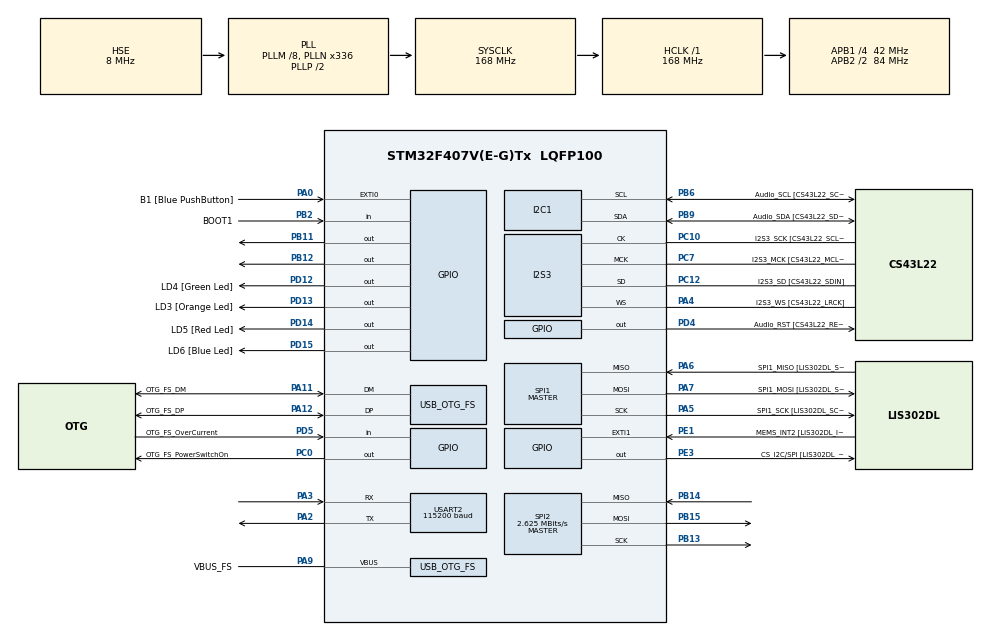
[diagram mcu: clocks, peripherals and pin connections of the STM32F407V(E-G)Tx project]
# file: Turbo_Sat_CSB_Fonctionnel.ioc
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I2S3.AudioFreq-Half_Duplex_Master=I2S_AUDIOFREQ_96K
I2S3.ErrorAudioFreq=-2.34 %
I2S3.ErrorAudioFreq-Half_Duplex_Master=0.8 %
I2S3.FullDuplexMode=I2S_FULLDUPLEXMODE_DISABLE
I2S3.Instance=SPI$Index
I2S3.RealAudioFreq=93.75 KHz
I2S3.RealAudioFreq-Half_Duplex_Master=96.774 KHz
I2S3.VirtualMode=I2S_MODE_MASTER
Mcu.Family=STM32F4
Mcu.Name=STM32F407V(E-G)Tx
Mcu.Package=LQFP100
NVIC.OTG_FS_IRQn=true\:0\:0\:false\:false\:true\:true\:true\:true
NVIC.PriorityGroup=NVIC_PRIORITYGROUP_0
NVIC.USART2_IRQn=true\:0\:0\:false\:false\:true\:true\:true\:true
PA0-WKUP.GPIO_Label=B1 [Blue PushButton]
PA0-WKUP.GPIO_ModeDefaultEXTI=GPIO_MODE_EVT_RISING
PA0-WKUP.GPIO_PuPd=GPIO_NOPULL
PA0-WKUP.Signal=GPXTI0
PA10.GPIO_Label=OTG_FS_ID
PA10.GPIO_Mode=GPIO_MODE_AF_PP
PA10.GPIO_PuPd=GPIO_NOPULL
PA10.GPIO_Speed=GPIO_SPEED_FREQ_LOW
PA10.Signal=USB_OTG_FS_ID
PA11.GPIO_Label=OTG_FS_DM
PA11.GPIO_Mode=GPIO_MODE_AF_PP
PA11.GPIO_PuPd=GPIO_NOPULL
PA11.GPIO_Speed=GPIO_SPEED_FREQ_LOW
PA11.Mode=Host_Only
PA11.Signal=USB_OTG_FS_DM
PA12.GPIO_Label=OTG_FS_DP
PA12.GPIO_Mode=GPIO_MODE_AF_PP
PA12.GPIO_PuPd=GPIO_NOPULL
PA12.GPIO_Speed=GPIO_SPEED_FREQ_LOW
PA12.Mode=Host_Only
PA12.Signal=USB_OTG_FS_DP
PA13.GPIO_Label=SWDIO
PA13.Mode=Serial_Wire
PA13.Signal=SYS_JTMS-SWDIO
PA14.GPIO_Label=SWCLK
PA14.Mode=Serial_Wire
PA14.Signal=SYS_JTCK-SWCLK
PA2.Mode=Asynchronous
PA2.Signal=USART2_TX
PA3.Mode=Asynchronous
PA3.Signal=USART2_RX
PA4.GPIO_Label=I2S3_WS [CS43L22_LRCK]
PA4.GPIO_Mode=GPIO_MODE_AF_PP
PA4.GPIO_PuPd=GPIO_NOPULL
PA4.GPIO_Speed=GPIO_SPEED_FREQ_LOW
PA4.Mode=Half_Duplex_Master
PA4.Signal=I2S3_WS
PA5.GPIO_Label=SPI1_SCK [LIS302DL_SCL/SPC]
PA5.GPIO_Mode=GPIO_MODE_AF_PP
PA5.GPIO_PuPd=GPIO_NOPULL
PA5.GPIO_Speed=GPIO_SPEED_FREQ_LOW
PA5.Mode=Full_Duplex_Master
PA5.Signal=SPI1_SCK
PA6.GPIO_Label=SPI1_MISO [LIS302DL_SDO]
PA6.GPIO_Mode=GPIO_MODE_AF_PP
PA6.GPIO_PuPd=GPIO_NOPULL
PA6.GPIO_Speed=GPIO_SPEED_FREQ_LOW
PA6.Mode=Full_Duplex_Master
PA6.Signal=SPI1_MISO
PA7.GPIO_Label=SPI1_MOSI [LIS302DL_SDA/SDI/SDO]
PA7.GPIO_Mode=GPIO_MODE_AF_PP
PA7.GPIO_PuPd=GPIO_NOPULL
PA7.GPIO_Speed=GPIO_SPEED_FREQ_LOW
PA7.Mode=Full_Duplex_Master
PA7.Signal=SPI1_MOSI
PA9.GPIO_Label=VBUS_FS
PA9.GPIO_Mode=GPIO_MODE_INPUT
PA9.GPIO_PuPd=GPIO_NOPULL
PA9.Mode=Activate_VBUS
PA9.Signal=USB_OTG_FS_VBUS
PB10.GPIO_Label=CLK_IN [MP45DT02_CLK]
PB10.GPIO_Mode=GPIO_MODE_AF_PP
PB10.GPIO_PuPd=GPIO_NOPULL
PB10.GPIO_Speed=GPIO_SPEED_FREQ_LOW
PB10.Signal=I2S2_CK
PB11.Signal=GPIO_Output
PB12.Signal=GPIO_Output
PB13.Mode=Full_Duplex_Master
PB13.Signal=SPI2_SCK
PB14.Mode=Full_Duplex_Master
PB14.Signal=SPI2_MISO
PB15.Mode=Full_Duplex_Master
PB15.Signal=SPI2_MOSI
PB2.GPIO_Label=BOOT1
PB2.GPIO_Mode=GPIO_MODE_INPUT
PB2.GPIO_PuPd=GPIO_NOPULL
PB2.Signal=GPIO_Input
PB3.GPIO_Label=SWO
PB3.Signal=SYS_JTDO-SWO
PB6.GPIO_Label=Audio_SCL [CS43L22_SCL]
PB6.GPIO_Mode=GPIO_MODE_AF_OD
PB6.GPIO_Pu=GPIO_PULLUP
PB6.GPIO_PuPd=GPIO_NOPULL
PB6.GPIO_Speed=GPIO_SPEED_FREQ_LOW
PB6.Mode=I2C
PB6.Signal=I2C1_SCL
PB9.GPIO_Label=Audio_SDA [CS43L22_SDA]
PB9.GPIO_Mode=GPIO_MODE_AF_OD
PB9.GPIO_Pu=GPIO_PULLUP
PB9.GPIO_PuPd=GPIO_NOPULL
PB9.GPIO_Speed=GPIO_SPEED_FREQ_LOW
PB9.Mode=I2C
PB9.Signal=I2C1_SDA
PC0.GPIO_Label=OTG_FS_PowerSwitchOn
PC0.GPIO_PuPd=GPIO_NOPULL
PC0.GPIO_Speed=GPIO_SPEED_FREQ_LOW
PC0.PinState=GPIO_PIN_SET
PC0.Signal=GPIO_Output
PC10.GPIO_Label=I2S3_SCK [CS43L22_SCLK]
PC10.GPIO_Mode=GPIO_MODE_AF_PP
PC10.GPIO_PuPd=GPIO_NOPULL
PC10.GPIO_Speed=GPIO_SPEED_FREQ_LOW
PC10.Mode=Half_Duplex_Master
PC10.Signal=I2S3_CK
PC12.GPIO_Label=I2S3_SD [CS43L22_SDIN]
PC12.GPIO_Mode=GPIO_MODE_AF_PP
PC12.GPIO_PuPd=GPIO_NOPULL
PC12.GPIO_Speed=GPIO_SPEED_FREQ_LOW
PC12.Mode=Half_Duplex_Master
PC12.Signal=I2S3_SD
PC14-OSC32_IN.GPIO_Label=PC14-OSC32_IN
PC14-OSC32_IN.Mode=LSE-External-Oscillator
PC14-OSC32_IN.Signal=RCC_OSC32_IN
PC15-OSC32_OUT.GPIO_Label=PC15-OSC32_OUT
PC15-OSC32_OUT.Mode=LSE-External-Oscillator
PC15-OSC32_OUT.Signal=RCC_OSC32_OUT
PC3.GPIO_Label=PDM_OUT [MP45DT02_DOUT]
PC3.GPIO_Mode=GPIO_MODE_AF_PP
PC3.GPIO_PuPd=GPIO_NOPULL
PC3.GPIO_Speed=GPIO_SPEED_FREQ_LOW
PC3.Signal=I2S2_SD
PC7.GPIO_Label=I2S3_MCK [CS43L22_MCLK]
PC7.GPIO_Mode=GPIO_MODE_AF_PP
PC7.GPIO_PuPd=GPIO_NOPULL
PC7.GPIO_Speed=GPIO_SPEED_FREQ_LOW
PC7.Mode=Master_Clock_Activated
PC7.Signal=I2S3_MCK
PD12.GPIO_Label=LD4 [Green Led]
PD12.GPIO_PuPd=GPIO_NOPULL
PD12.GPIO_Speed=GPIO_SPEED_FREQ_LOW
PD12.Signal=GPIO_Output
PD13.GPIO_Label=LD3 [Orange Led]
PD13.GPIO_PuPd=GPIO_NOPULL
PD13.GPIO_Speed=GPIO_SPEED_FREQ_LOW
PD13.Signal=GPIO_Output
PD14.GPIO_Label=LD5 [Red Led]
PD14.GPIO_PuPd=GPIO_NOPULL
PD14.GPIO_Speed=GPIO_SPEED_FREQ_LOW
PD14.Signal=GPIO_Output
PD15.GPIO_Label=LD6 [Blue Led]
PD15.GPIO_PuPd=GPIO_NOPULL
PD15.GPIO_Speed=GPIO_SPEED_FREQ_LOW
PD15.Signal=GPIO_Output
PD4.GPIO_Label=Audio_RST [CS43L22_RESET]
PD4.GPIO_PuPd=GPIO_NOPULL
PD4.GPIO_Speed=GPIO_SPEED_FREQ_LOW
PD4.Signal=GPIO_Output
PD5.GPIO_Label=OTG_FS_OverCurrent
PD5.GPIO_Mode=GPIO_MODE_INPUT
PD5.GPIO_PuPd=GPIO_NOPULL
PD5.Signal=GPIO_Input
PE1.GPIO_Label=MEMS_INT2 [LIS302DL_INT2]
PE1.GPIO_ModeDefaultEXTI=GPIO_MODE_EVT_RISING
PE1.GPIO_PuPd=GPIO_NOPULL
PE1.Signal=GPXTI1
PE3.GPIO_Label=CS_I2C/SPI [LIS302DL_CS_I2C/SPI]
PE3.GPIO_PuPd=GPIO_NOPULL
PE3.GPIO_Speed=GPIO_SPEED_FREQ_LOW
PE3.Signal=GPIO_Output
PH0-OSC_IN.GPIO_Label=PH0-OSC_IN
PH0-OSC_IN.Mode=HSE-External-Oscillator
PH0-OSC_IN.Signal=RCC_OSC_IN
PH1-OSC_OUT.GPIO_Label=PH1-OSC_OUT
PH1-OSC_OUT.Mode=HSE-External-Oscillator
PH1-OSC_OUT.Signal=RCC_OSC_OUT
ProjectManager.HeapSize=0x200
ProjectManager.StackSize=0x400
ProjectManager.TargetToolchain=STM32CubeIDE
RCC.48MHZClocksFreq_Value=48000000
RCC.AHBFreq_Value=168000000
RCC.APB1CLKDivider=RCC_HCLK_DIV4
RCC.APB1Freq_Value=42000000
RCC.APB1TimFreq_Value=84000000
RCC.APB2CLKDivider=RCC_HCLK_DIV2
RCC.APB2Freq_Value=84000000
RCC.APB2TimFreq_Value=168000000
RCC.CortexFreq_Value=168000000
RCC.HCLKFreq_Value=168000000
RCC.HSE_VALUE=8000000
RCC.HSI_VALUE=16000000
RCC.PLLM=8
RCC.PLLN=336
RCC.PLLQ=7
RCC.SYSCLKFreq_VALUE=168000000
RCC.SYSCLKSource=RCC_SYSCLKSOURCE_PLLCLK
RCC.VCOOutputFreq_Value=336000000
SPI1.BaudRatePrescaler-Full_Duplex_Master=SPI_BAUDRATEPRESCALER_2
SPI1.CalculateBaudRate-Full_Duplex_Master=42.0 MBits/s
SPI1.Direction=SPI_DIRECTION_2LINES
SPI1.Mode=SPI_MODE_MASTER
SPI1.Mode-Full_Duplex_Master=SPI_MODE_MASTER
SPI1.VirtualType=VM_MASTER
SPI2.BaudRatePrescaler=SPI_BAUDRATEPRESCALER_16
SPI2.CalculateBaudRate=2.625 MBits/s
SPI2.Direction=SPI_DIRECTION_2LINES
SPI2.Mode=SPI_MODE_MASTER
SPI2.VirtualType=VM_MASTER
USART2.BaudRate=115200
USART2.VirtualMode=VM_ASYNC
USB_HOST.BSP.number=1
USB_HOST.USBH_HandleTypeDef-CDC_FS=hUsbHostFS
USB_HOST.VirtualModeFS=Cdc
USB_HOST0.BSP.STBoard=false
USB_HOST0.BSP.api=Unknown
USB_HOST0.BSP.instance=PC0
USB_HOST0.BSP.ip=GPIO
USB_HOST0.BSP.mode=Output
USB_HOST0.BSP.name=Drive_VBUS_FS
USB_HOST0.BSP.solution=PC0
USB_OTG_FS.VirtualMode=Host_Only
USB_OTG_FS.phy_itface=HCD_PHY_EMBEDDED
VP_USB_HOST_VS_USB_HOST_CDC_FS.Mode=CDC_FS
board=STM32F407G-DISC1

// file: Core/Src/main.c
/* USER CODE BEGIN Header */
/**
  ******************************************************************************
  * @file           : main.c
  * @brief          : Main program body
  ******************************************************************************
  * @attention
  *
  * Copyright (c) 2022 STMicroelectronics.
  * All rights reserved.
  *
  * This software is licensed under terms that can be found in the LICENSE file
  * in the root directory of this software component.
  * If no LICENSE file comes with this software, it is provided AS-IS.
  *
  ******************************************************************************
  */
/* USER CODE END Header */
#include "main.h"
#include "usb_host.h"

/* USER CODE BEGIN Includes */
#include "nrf24l01.h"
#include "stm32f4xx_hal.h"
/* USER CODE END Includes */

I2C_HandleTypeDef hi2c1;

I2S_HandleTypeDef hi2s3;

SPI_HandleTypeDef hspi1;
SPI_HandleTypeDef hspi2;

UART_HandleTypeDef huart2;

/* USER CODE BEGIN PV */
uint8_t Address[]={0xEE, 0xDD, 0xCC, 0xBB, 0xAA};
 uint8_t buffer[32];
 uint8_t bufferCMD[32];
 uint8_t init = 1;
uint8_t hello[32]="hello world";
uint32_t compteurPixel=0;
uint8_t commande;
uint16_t compteur=0;
 typedef enum
 {
 	RX,
 	TX,
 	OFF
 }etat_e;

 etat_e SPI_Mode=TX;
/* USER CODE END PV */

void SystemClock_Config(void);
static void MX_GPIO_Init(void);
static void MX_I2C1_Init(void);
static void MX_I2S3_Init(void);
static void MX_SPI1_Init(void);
static void MX_SPI2_Init(void);
static void MX_USART2_UART_Init(void);
void MX_USB_HOST_Process(void);

/* USER CODE BEGIN PFP */
void stateMachine(void);
/* USER CODE END PFP */

int main(void)
{

  /* MCU Configuration--------------------------------------------------------*/

  /* Reset of all peripherals, Initializes the Flash interface and the Systick. */
  HAL_Init();

  /* Configure the system clock */
  SystemClock_Config();

  /* Initialize all configured peripherals */
  MX_GPIO_Init();
  MX_I2C1_Init();
  MX_I2S3_Init();
  MX_SPI1_Init();
  MX_USB_HOST_Init();
  MX_SPI2_Init();
  MX_USART2_UART_Init();
  /* USER CODE BEGIN 2 */
   nrf24_Init();
   nrf24_RxMode(Address, 10);
   //HAL_USART_Receive_IT(&husart2, &commande, 1);
  /* USER CODE END 2 */

  /* Infinite loop */
  while (1)
  {

    /* USER CODE BEGIN 3 */
	  if(isDataAvailable(1))
	  {
	  	nrf24_Receive(buffer);
	  	HAL_UART_Transmit(&huart2, buffer, 32, 100);
	  }
  }
  /* USER CODE END 3 */
}

void SystemClock_Config(void)
{
  RCC_OscInitTypeDef RCC_OscInitStruct = {0};
  RCC_ClkInitTypeDef RCC_ClkInitStruct = {0};

  /** Configure the main internal regulator output voltage
  */
  __HAL_RCC_PWR_CLK_ENABLE();
  __HAL_PWR_VOLTAGESCALING_CONFIG(PWR_REGULATOR_VOLTAGE_SCALE1);

  /** Initializes the RCC Oscillators according to the specified parameters
  * in the RCC_OscInitTypeDef structure.
  */
  RCC_OscInitStruct.OscillatorType = RCC_OSCILLATORTYPE_HSE;
  RCC_OscInitStruct.HSEState = RCC_HSE_ON;
  RCC_OscInitStruct.PLL.PLLState = RCC_PLL_ON;
  RCC_OscInitStruct.PLL.PLLSource = RCC_PLLSOURCE_HSE;
  RCC_OscInitStruct.PLL.PLLM = 8;
  RCC_OscInitStruct.PLL.PLLN = 336;
  RCC_OscInitStruct.PLL.PLLP = RCC_PLLP_DIV2;
  RCC_OscInitStruct.PLL.PLLQ = 7;
  if (HAL_RCC_OscConfig(&RCC_OscInitStruct) != HAL_OK)
  {
    Error_Handler();
  }

  /** Initializes the CPU, AHB and APB buses clocks
  */
  RCC_ClkInitStruct.ClockType = RCC_CLOCKTYPE_HCLK|RCC_CLOCKTYPE_SYSCLK
                              |RCC_CLOCKTYPE_PCLK1|RCC_CLOCKTYPE_PCLK2;
  RCC_ClkInitStruct.SYSCLKSource = RCC_SYSCLKSOURCE_PLLCLK;
  RCC_ClkInitStruct.AHBCLKDivider = RCC_SYSCLK_DIV1;
  RCC_ClkInitStruct.APB1CLKDivider = RCC_HCLK_DIV4;
  RCC_ClkInitStruct.APB2CLKDivider = RCC_HCLK_DIV2;

  if (HAL_RCC_ClockConfig(&RCC_ClkInitStruct, FLASH_LATENCY_5) != HAL_OK)
  {
    Error_Handler();
  }
}

static void MX_I2C1_Init(void)
{

  hi2c1.Instance = I2C1;
  hi2c1.Init.ClockSpeed = 100000;
  hi2c1.Init.DutyCycle = I2C_DUTYCYCLE_2;
  hi2c1.Init.OwnAddress1 = 0;
  hi2c1.Init.AddressingMode = I2C_ADDRESSINGMODE_7BIT;
  hi2c1.Init.DualAddressMode = I2C_DUALADDRESS_DISABLE;
  hi2c1.Init.OwnAddress2 = 0;
  hi2c1.Init.GeneralCallMode = I2C_GENERALCALL_DISABLE;
  hi2c1.Init.NoStretchMode = I2C_NOSTRETCH_DISABLE;
  if (HAL_I2C_Init(&hi2c1) != HAL_OK)
  {
    Error_Handler();
  }

}

static void MX_I2S3_Init(void)
{

  hi2s3.Instance = SPI3;
  hi2s3.Init.Mode = I2S_MODE_MASTER_TX;
  hi2s3.Init.Standard = I2S_STANDARD_PHILIPS;
  hi2s3.Init.DataFormat = I2S_DATAFORMAT_16B;
  hi2s3.Init.MCLKOutput = I2S_MCLKOUTPUT_ENABLE;
  hi2s3.Init.AudioFreq = I2S_AUDIOFREQ_96K;
  hi2s3.Init.CPOL = I2S_CPOL_LOW;
  hi2s3.Init.ClockSource = I2S_CLOCK_PLL;
  hi2s3.Init.FullDuplexMode = I2S_FULLDUPLEXMODE_DISABLE;
  if (HAL_I2S_Init(&hi2s3) != HAL_OK)
  {
    Error_Handler();
  }

}

static void MX_SPI1_Init(void)
{

  /* SPI1 parameter configuration*/
  hspi1.Instance = SPI1;
  hspi1.Init.Mode = SPI_MODE_MASTER;
  hspi1.Init.Direction = SPI_DIRECTION_2LINES;
  hspi1.Init.DataSize = SPI_DATASIZE_8BIT;
  hspi1.Init.CLKPolarity = SPI_POLARITY_LOW;
  hspi1.Init.CLKPhase = SPI_PHASE_1EDGE;
  hspi1.Init.NSS = SPI_NSS_SOFT;
  hspi1.Init.BaudRatePrescaler = SPI_BAUDRATEPRESCALER_2;
  hspi1.Init.FirstBit = SPI_FIRSTBIT_MSB;
  hspi1.Init.TIMode = SPI_TIMODE_DISABLE;
  hspi1.Init.CRCCalculation = SPI_CRCCALCULATION_DISABLE;
  hspi1.Init.CRCPolynomial = 10;
  if (HAL_SPI_Init(&hspi1) != HAL_OK)
  {
    Error_Handler();
  }

}

static void MX_SPI2_Init(void)
{

  /* SPI2 parameter configuration*/
  hspi2.Instance = SPI2;
  hspi2.Init.Mode = SPI_MODE_MASTER;
  hspi2.Init.Direction = SPI_DIRECTION_2LINES;
  hspi2.Init.DataSize = SPI_DATASIZE_8BIT;
  hspi2.Init.CLKPolarity = SPI_POLARITY_LOW;
  hspi2.Init.CLKPhase = SPI_PHASE_1EDGE;
  hspi2.Init.NSS = SPI_NSS_SOFT;
  hspi2.Init.BaudRatePrescaler = SPI_BAUDRATEPRESCALER_16;
  hspi2.Init.FirstBit = SPI_FIRSTBIT_MSB;
  hspi2.Init.TIMode = SPI_TIMODE_DISABLE;
  hspi2.Init.CRCCalculation = SPI_CRCCALCULATION_DISABLE;
  hspi2.Init.CRCPolynomial = 10;
  if (HAL_SPI_Init(&hspi2) != HAL_OK)
  {
    Error_Handler();
  }

}

static void MX_USART2_UART_Init(void)
{

  huart2.Instance = USART2;
  huart2.Init.BaudRate = 115200;
  huart2.Init.WordLength = UART_WORDLENGTH_8B;
  huart2.Init.StopBits = UART_STOPBITS_1;
  huart2.Init.Parity = UART_PARITY_NONE;
  huart2.Init.Mode = UART_MODE_TX_RX;
  huart2.Init.HwFlowCtl = UART_HWCONTROL_NONE;
  huart2.Init.OverSampling = UART_OVERSAMPLING_16;
  if (HAL_UART_Init(&huart2) != HAL_OK)
  {
    Error_Handler();
  }

}

static void MX_GPIO_Init(void)
{
  GPIO_InitTypeDef GPIO_InitStruct = {0};

  /* GPIO Ports Clock Enable */
  __HAL_RCC_GPIOE_CLK_ENABLE();
  __HAL_RCC_GPIOC_CLK_ENABLE();
  __HAL_RCC_GPIOH_CLK_ENABLE();
  __HAL_RCC_GPIOA_CLK_ENABLE();
  __HAL_RCC_GPIOB_CLK_ENABLE();
  __HAL_RCC_GPIOD_CLK_ENABLE();

  /*Configure GPIO pin Output Level */
  HAL_GPIO_WritePin(CS_I2C_SPI_GPIO_Port, CS_I2C_SPI_Pin, GPIO_PIN_RESET);

  /*Configure GPIO pin Output Level */
  HAL_GPIO_WritePin(OTG_FS_PowerSwitchOn_GPIO_Port, OTG_FS_PowerSwitchOn_Pin, GPIO_PIN_SET);

  /*Configure GPIO pin Output Level */
  HAL_GPIO_WritePin(GPIOB, GPIO_PIN_11|GPIO_PIN_12, GPIO_PIN_RESET);

  /*Configure GPIO pin Output Level */
  HAL_GPIO_WritePin(GPIOD, LD4_Pin|LD3_Pin|LD5_Pin|LD6_Pin
                          |Audio_RST_Pin, GPIO_PIN_RESET);

  /*Configure GPIO pin : CS_I2C_SPI_Pin */
  GPIO_InitStruct.Pin = CS_I2C_SPI_Pin;
  GPIO_InitStruct.Mode = GPIO_MODE_OUTPUT_PP;
  GPIO_InitStruct.Pull = GPIO_NOPULL;
  GPIO_InitStruct.Speed = GPIO_SPEED_FREQ_LOW;
  HAL_GPIO_Init(CS_I2C_SPI_GPIO_Port, &GPIO_InitStruct);

  /*Configure GPIO pin : OTG_FS_PowerSwitchOn_Pin */
  GPIO_InitStruct.Pin = OTG_FS_PowerSwitchOn_Pin;
  GPIO_InitStruct.Mode = GPIO_MODE_OUTPUT_PP;
  GPIO_InitStruct.Pull = GPIO_NOPULL;
  GPIO_InitStruct.Speed = GPIO_SPEED_FREQ_LOW;
  HAL_GPIO_Init(OTG_FS_PowerSwitchOn_GPIO_Port, &GPIO_InitStruct);

  /*Configure GPIO pin : PDM_OUT_Pin */
  GPIO_InitStruct.Pin = PDM_OUT_Pin;
  GPIO_InitStruct.Mode = GPIO_MODE_AF_PP;
  GPIO_InitStruct.Pull = GPIO_NOPULL;
  GPIO_InitStruct.Speed = GPIO_SPEED_FREQ_LOW;
  GPIO_InitStruct.Alternate = GPIO_AF5_SPI2;
  HAL_GPIO_Init(PDM_OUT_GPIO_Port, &GPIO_InitStruct);

  /*Configure GPIO pin : B1_Pin */
  GPIO_InitStruct.Pin = B1_Pin;
  GPIO_InitStruct.Mode = GPIO_MODE_EVT_RISING;
  GPIO_InitStruct.Pull = GPIO_NOPULL;
  HAL_GPIO_Init(B1_GPIO_Port, &GPIO_InitStruct);

  /*Configure GPIO pin : BOOT1_Pin */
  GPIO_InitStruct.Pin = BOOT1_Pin;
  GPIO_InitStruct.Mode = GPIO_MODE_INPUT;
  GPIO_InitStruct.Pull = GPIO_NOPULL;
  HAL_GPIO_Init(BOOT1_GPIO_Port, &GPIO_InitStruct);

  /*Configure GPIO pin : CLK_IN_Pin */
  GPIO_InitStruct.Pin = CLK_IN_Pin;
  GPIO_InitStruct.Mode = GPIO_MODE_AF_PP;
  GPIO_InitStruct.Pull = GPIO_NOPULL;
  GPIO_InitStruct.Speed = GPIO_SPEED_FREQ_LOW;
  GPIO_InitStruct.Alternate = GPIO_AF5_SPI2;
  HAL_GPIO_Init(CLK_IN_GPIO_Port, &GPIO_InitStruct);

  /*Configure GPIO pins : PB11 PB12 */
  GPIO_InitStruct.Pin = GPIO_PIN_11|GPIO_PIN_12;
  GPIO_InitStruct.Mode = GPIO_MODE_OUTPUT_PP;
  GPIO_InitStruct.Pull = GPIO_NOPULL;
  GPIO_InitStruct.Speed = GPIO_SPEED_FREQ_LOW;
  HAL_GPIO_Init(GPIOB, &GPIO_InitStruct);

  /*Configure GPIO pins : LD4_Pin LD3_Pin LD5_Pin LD6_Pin
                           Audio_RST_Pin */
  GPIO_InitStruct.Pin = LD4_Pin|LD3_Pin|LD5_Pin|LD6_Pin
                          |Audio_RST_Pin;
  GPIO_InitStruct.Mode = GPIO_MODE_OUTPUT_PP;
  GPIO_InitStruct.Pull = GPIO_NOPULL;
  GPIO_InitStruct.Speed = GPIO_SPEED_FREQ_LOW;
  HAL_GPIO_Init(GPIOD, &GPIO_InitStruct);

  /*Configure GPIO pin : OTG_FS_OverCurrent_Pin */
  GPIO_InitStruct.Pin = OTG_FS_OverCurrent_Pin;
  GPIO_InitStruct.Mode = GPIO_MODE_INPUT;
  GPIO_InitStruct.Pull = GPIO_NOPULL;
  HAL_GPIO_Init(OTG_FS_OverCurrent_GPIO_Port, &GPIO_InitStruct);

  /*Configure GPIO pin : MEMS_INT2_Pin */
  GPIO_InitStruct.Pin = MEMS_INT2_Pin;
  GPIO_InitStruct.Mode = GPIO_MODE_EVT_RISING;
  GPIO_InitStruct.Pull = GPIO_NOPULL;
  HAL_GPIO_Init(MEMS_INT2_GPIO_Port, &GPIO_InitStruct);

}

/* USER CODE BEGIN 4 */

/*
void HAL_USART_RxCpltCallback(USART_HandleTypeDef *husart)
{
	if(husart->Instance==USART2)
	{
		SPI_Mode=TX;
		init = 1;
		uint8_t test = commande;
		switch(commande)
		{
		case 1:
			bufferCMD[0]=1;
			break;
		case 2:
			bufferCMD[0]=2;
			break;
		default:
			break;
		}
		HAL_USART_Receive_IT(&husart2, &commande, 1);
	}
}
*/
/* USER CODE END 4 */

void Error_Handler(void)
{
  __disable_irq();
  while (1)
  {
  }
}
